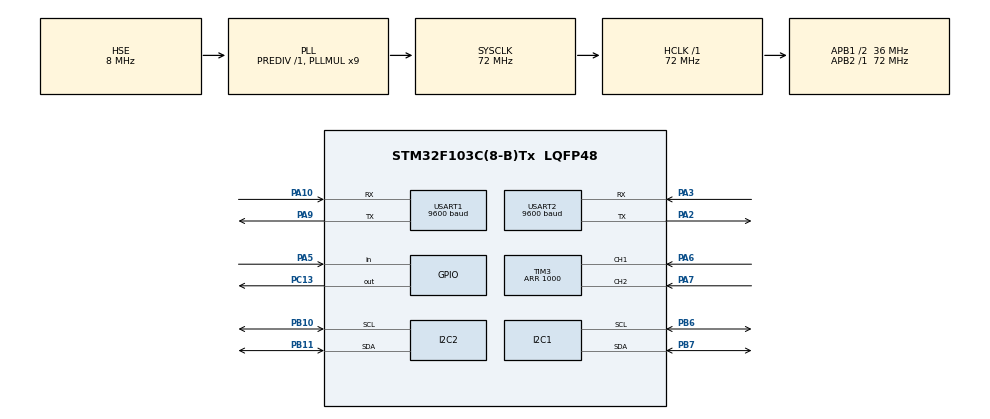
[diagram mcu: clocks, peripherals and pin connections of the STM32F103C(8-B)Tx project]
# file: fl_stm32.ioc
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FREERTOS.HEAP_NUMBER=4
FREERTOS.Tasks01=defaultTask,0,128,StartDefaultTask,Default,NULL,Dynamic,NULL,NULL;displeyTask,-2,512,StartdispleyTask,Default,NULL,Dynamic,NULL,NULL;encodetTask,-2,128,StartencodetTask,Default,NULL,Dynamic,NULL,NULL;gpsTask,-2,128,StartGPSTask,Default,NULL,Dynamic,NULL,NULL;rtcTask,-2,128,StartRTCTask,Default,NULL,Dynamic,NULL,NULL;UARTTask,-3,256,StartUARTTask,Default,NULL,Dynamic,NULL,NULL;sensorsTask,-3,128,StartSensorTask,Default,NULL,Dynamic,NULL,NULL
FREERTOS.configMINIMAL_STACK_SIZE=128
FREERTOS.configTOTAL_HEAP_SIZE=6528
I2C1.I2C_Mode=I2C_Fast
Mcu.Family=STM32F1
Mcu.Name=STM32F103C(8-B)Tx
Mcu.Package=LQFP48
NVIC.I2C1_ER_IRQn=true\:5\:0\:false\:false\:true\:true\:true\:true\:true
NVIC.I2C1_EV_IRQn=true\:5\:0\:false\:false\:true\:true\:true\:true\:true
NVIC.PriorityGroup=NVIC_PRIORITYGROUP_4
NVIC.TIM4_IRQn=true\:15\:0\:false\:false\:true\:false\:false\:true\:true
NVIC.TimeBase=TIM4_IRQn
NVIC.TimeBaseIP=TIM4
NVIC.USART1_IRQn=true\:5\:0\:false\:false\:true\:true\:true\:true\:true
PA10.Mode=Asynchronous
PA10.Signal=USART1_RX
PA13.Mode=Serial_Wire
PA13.Signal=SYS_JTMS-SWDIO
PA14.Mode=Serial_Wire
PA14.Signal=SYS_JTCK-SWCLK
PA2.Mode=Asynchronous
PA2.Signal=USART2_TX
PA3.Mode=Asynchronous
PA3.Signal=USART2_RX
PA5.Signal=GPIO_Input
PA6.GPIO_Mode=GPIO_MODE_INPUT
PA6.GPIO_PuPd=GPIO_PULLUP
PA6.Signal=S_TIM3_CH1
PA7.GPIO_Mode=GPIO_MODE_INPUT
PA7.GPIO_PuPd=GPIO_PULLUP
PA7.Signal=S_TIM3_CH2
PA9.Mode=Asynchronous
PA9.Signal=USART1_TX
PB10.Mode=I2C
PB10.Signal=I2C2_SCL
PB11.Mode=I2C
PB11.Signal=I2C2_SDA
PB6.GPIO_Speed=GPIO_SPEED_FREQ_HIGH
PB6.Mode=I2C
PB6.Signal=I2C1_SCL
PB7.Mode=I2C
PB7.Signal=I2C1_SDA
PC13-TAMPER-RTC.GPIO_Speed=GPIO_SPEED_FREQ_MEDIUM
PC13-TAMPER-RTC.Signal=GPIO_Output
PD0-OSC_IN.Mode=HSE-External-Oscillator
PD0-OSC_IN.Signal=RCC_OSC_IN
PD1-OSC_OUT.Mode=HSE-External-Oscillator
PD1-OSC_OUT.Signal=RCC_OSC_OUT
ProjectManager.HeapSize=0x200
ProjectManager.StackSize=0x400
ProjectManager.TargetToolchain=STM32CubeIDE
RCC.AHBFreq_Value=72000000
RCC.APB1CLKDivider=RCC_HCLK_DIV2
RCC.APB1Freq_Value=36000000
RCC.APB1TimFreq_Value=72000000
RCC.APB2Freq_Value=72000000
RCC.APB2TimFreq_Value=72000000
RCC.HCLKFreq_Value=72000000
RCC.PLLMUL=RCC_PLL_MUL9
RCC.PLLSourceVirtual=RCC_PLLSOURCE_HSE
RCC.SYSCLKFreq_VALUE=72000000
RCC.SYSCLKSource=RCC_SYSCLKSOURCE_PLLCLK
RCC.USBFreq_Value=72000000
SH.S_TIM3_CH1.0=TIM3_CH1,Encoder_Interface
SH.S_TIM3_CH2.0=TIM3_CH2,Encoder_Interface
TIM3.IC1Filter=6
TIM3.IC1Polarity=TIM_ICPOLARITY_FALLING
TIM3.IC2Filter=6
TIM3.IC2Polarity=TIM_ICPOLARITY_FALLING
TIM3.Period=1000
USART1.BaudRate=9600
USART1.VirtualMode=VM_ASYNC
USART2.BaudRate=9600
USART2.VirtualMode=VM_ASYNC
VP_FREERTOS_VS_CMSIS_V1.Mode=CMSIS_V1
VP_SYS_VS_tim4.Mode=TIM4
board=custom

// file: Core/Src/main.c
/* USER CODE BEGIN Header */
/**
  ******************************************************************************
  * @file           : main.c
  * @brief          : Main program body
  ******************************************************************************
  * @attention
  *
  * Copyright (c) 2024 STMicroelectronics.
  * All rights reserved.
  *
  * This software is licensed under terms that can be found in the LICENSE file
  * in the root directory of this software component.
  * If no LICENSE file comes with this software, it is provided AS-IS.
  *
  ******************************************************************************
  */
/* USER CODE END Header */
#include "main.h"
#include "cmsis_os.h"
#include "i2c.h"
#include "tim.h"
#include "usart.h"
#include "gpio.h"

void SystemClock_Config(void);
void MX_FREERTOS_Init(void);

int main(void)
{

  /* MCU Configuration--------------------------------------------------------*/

  /* Reset of all peripherals, Initializes the Flash interface and the Systick. */
  HAL_Init();

  /* Configure the system clock */
  SystemClock_Config();

  /* Initialize all configured peripherals */
  MX_GPIO_Init();
  MX_I2C1_Init();
  MX_I2C2_Init();
  MX_USART1_UART_Init();
  MX_USART2_UART_Init();
  MX_TIM3_Init();

  /* Call init function for freertos objects (in freertos.c) */
  MX_FREERTOS_Init();

  /* Start scheduler */
  osKernelStart();

  /* We should never get here as control is now taken by the scheduler */
  /* Infinite loop */
  while (1)
  {

  }
}

void SystemClock_Config(void)
{
  RCC_OscInitTypeDef RCC_OscInitStruct = {0};
  RCC_ClkInitTypeDef RCC_ClkInitStruct = {0};

  /** Initializes the RCC Oscillators according to the specified parameters
  * in the RCC_OscInitTypeDef structure.
  */
  RCC_OscInitStruct.OscillatorType = RCC_OSCILLATORTYPE_HSE;
  RCC_OscInitStruct.HSEState = RCC_HSE_ON;
  RCC_OscInitStruct.HSEPredivValue = RCC_HSE_PREDIV_DIV1;
  RCC_OscInitStruct.HSIState = RCC_HSI_ON;
  RCC_OscInitStruct.PLL.PLLState = RCC_PLL_ON;
  RCC_OscInitStruct.PLL.PLLSource = RCC_PLLSOURCE_HSE;
  RCC_OscInitStruct.PLL.PLLMUL = RCC_PLL_MUL9;
  if (HAL_RCC_OscConfig(&RCC_OscInitStruct) != HAL_OK)
  {
    Error_Handler();
  }

  /** Initializes the CPU, AHB and APB buses clocks
  */
  RCC_ClkInitStruct.ClockType = RCC_CLOCKTYPE_HCLK|RCC_CLOCKTYPE_SYSCLK
                              |RCC_CLOCKTYPE_PCLK1|RCC_CLOCKTYPE_PCLK2;
  RCC_ClkInitStruct.SYSCLKSource = RCC_SYSCLKSOURCE_PLLCLK;
  RCC_ClkInitStruct.AHBCLKDivider = RCC_SYSCLK_DIV1;
  RCC_ClkInitStruct.APB1CLKDivider = RCC_HCLK_DIV2;
  RCC_ClkInitStruct.APB2CLKDivider = RCC_HCLK_DIV1;

  if (HAL_RCC_ClockConfig(&RCC_ClkInitStruct, FLASH_LATENCY_2) != HAL_OK)
  {
    Error_Handler();
  }
}

void HAL_TIM_PeriodElapsedCallback(TIM_HandleTypeDef *htim)
{
  if (htim->Instance == TIM4) {
    HAL_IncTick();
  }
  /* USER CODE BEGIN Callback 1 */
  if (htim->Instance == TIM4)
  {
	  button_timer_tick();
  }

  /* USER CODE END Callback 1 */
}

void Error_Handler(void)
{
  __disable_irq();
  while (1)
  {
  }
}

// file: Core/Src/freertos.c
/* USER CODE BEGIN Header */
/**
  ******************************************************************************
  * File Name          : freertos.c
  * Description        : Code for freertos applications
  ******************************************************************************
  * @attention
  *
  * Copyright (c) 2024 STMicroelectronics.
  * All rights reserved.
  *
  * This software is licensed under terms that can be found in the LICENSE file
  * in the root directory of this software component.
  * If no LICENSE file comes with this software, it is provided AS-IS.
  *
  ******************************************************************************
  */
/* USER CODE END Header */

#include "FreeRTOS.h"
#include "task.h"
#include "main.h"
#include "cmsis_os.h"

/* USER CODE BEGIN Includes */

#include "gps_neo6.h"
#include "usart.h"
#include "stdio.h"
#include "ds1307_for_stm32_hal.h"
#include "tim.h"
#include "i2c.h"
//#include "_bme280.h"
//#include "BME280.h"

#include "sensors.h"
#include "display.h"

/* USER CODE END Includes */

osThreadId defaultTaskHandle;
osThreadId displeyTaskHandle;
osThreadId encodetTaskHandle;
osThreadId gpsTaskHandle;
osThreadId rtcTaskHandle;
osThreadId UARTTaskHandle;
osThreadId sensorsTaskHandle;

void StartDefaultTask(void const * argument);
void StartdispleyTask(void const * argument);
void StartencodetTask(void const * argument);
void StartGPSTask(void const * argument);
void StartRTCTask(void const * argument);
void StartUARTTask(void const * argument);
void StartSensorTask(void const * argument);

void MX_FREERTOS_Init(void); /* (MISRA C 2004 rule 8.1) */

/* GetIdleTaskMemory prototype (linked to static allocation support) */
void vApplicationGetIdleTaskMemory( StaticTask_t **ppxIdleTaskTCBBuffer, StackType_t **ppxIdleTaskStackBuffer, uint32_t *pulIdleTaskStackSize );

/* USER CODE BEGIN GET_IDLE_TASK_MEMORY */
static StaticTask_t xIdleTaskTCBBuffer;
static StackType_t xIdleStack[configMINIMAL_STACK_SIZE];

void vApplicationGetIdleTaskMemory( StaticTask_t **ppxIdleTaskTCBBuffer, StackType_t **ppxIdleTaskStackBuffer, uint32_t *pulIdleTaskStackSize )
{
  *ppxIdleTaskTCBBuffer = &xIdleTaskTCBBuffer;
  *ppxIdleTaskStackBuffer = &xIdleStack[0];
  *pulIdleTaskStackSize = configMINIMAL_STACK_SIZE;
  /* place for user code */
}
/* USER CODE END GET_IDLE_TASK_MEMORY */

void MX_FREERTOS_Init(void) {

  /* Create the thread(s) */
  /* definition and creation of defaultTask */
  osThreadDef(defaultTask, StartDefaultTask, osPriorityNormal, 0, 128);
  defaultTaskHandle = osThreadCreate(osThread(defaultTask), NULL);

  /* definition and creation of displeyTask */
  osThreadDef(displeyTask, StartdispleyTask, osPriorityLow, 0, 512);
  displeyTaskHandle = osThreadCreate(osThread(displeyTask), NULL);

  /* definition and creation of encodetTask */
  osThreadDef(encodetTask, StartencodetTask, osPriorityLow, 0, 128);
  encodetTaskHandle = osThreadCreate(osThread(encodetTask), NULL);

  /* definition and creation of gpsTask */
  osThreadDef(gpsTask, StartGPSTask, osPriorityLow, 0, 128);
  gpsTaskHandle = osThreadCreate(osThread(gpsTask), NULL);

  /* definition and creation of rtcTask */
  osThreadDef(rtcTask, StartRTCTask, osPriorityLow, 0, 128);
  rtcTaskHandle = osThreadCreate(osThread(rtcTask), NULL);

  /* definition and creation of UARTTask */
  osThreadDef(UARTTask, StartUARTTask, osPriorityIdle, 0, 256);
  UARTTaskHandle = osThreadCreate(osThread(UARTTask), NULL);

  /* definition and creation of sensorsTask */
  osThreadDef(sensorsTask, StartSensorTask, osPriorityIdle, 0, 128);
  sensorsTaskHandle = osThreadCreate(osThread(sensorsTask), NULL);

}

void StartDefaultTask(void const * argument)
{
  for(;;)
  {
    osDelay(1);
  }
}

void StartdispleyTask(void const * argument)
{
  /* USER CODE BEGIN StartdispleyTask */
	display_Init();
  /* Infinite loop */
	for(;;)
	{
		display_handle();
		osDelay(500);
	}
  /* USER CODE END StartdispleyTask */
}

void StartencodetTask(void const * argument)
{
  /* USER CODE BEGIN StartencodetTask */
	encoder_init();
  /* Infinite loop */
	for(;;)
	  {
		encoder_handling();
		keyboard_handling();
		osDelay(1);
	  }
  /* USER CODE END StartencodetTask */
}

void StartGPSTask(void const * argument)
{
  /* USER CODE BEGIN StartGPSTask */
	sprintf((char*)Message, "T %02d:%02d:%02d", 12, 12, 12);
	NEO6_Init(&GpsState, &huart1);
	osDelay(1000);
	sprintf((char*)Message, "T %02d:%02d:%02d", GpsState.Hour, GpsState.Minute, GpsState.Second);
  /* Infinite loop */
  for(;;)
  {
//	  HAL_GPIO_WritePin(GPIOC, GPIO_PIN_13, GPIO_PIN_RESET);
	  NEO6_Task(&GpsState);
//	  osDelay(1);
//	  osDelay(1000);
//
////	  if(NEO6_IsFix(&GpsState))
////	  {
////		 sprintf((char*)Message, "T %02d:%02d:%02d", GpsState.Hour, GpsState.Minute, GpsState.Second);
////	  }
////	  else
////	  {
////		  sprintf((char*)Message, "No Fix\n\r");
////
////	  }
//	  HAL_UART_Receive_IT(&huart1, bufttttt, 64);
//	  osDelay(1000);
//	  HAL_GPIO_WritePin(GPIOC, GPIO_PIN_13, GPIO_PIN_SET);
//	  osDelay(1000);
  }
  /* USER CODE END StartGPSTask */
}

void StartRTCTask(void const * argument)
{
  /* USER CODE BEGIN StartRTCTask */
	rtc_Init();
  /* Infinite loop */
  for(;;)
  {
	rtc_handle();
	osDelay(100);
  }
  /* USER CODE END StartRTCTask */
}

void StartUARTTask(void const * argument)
{
  /* USER CODE BEGIN StartUARTTask */
  /* Infinite loop */
  for(;;)
  {
	  uart_pc_handle();
	  osDelay(100);
  }
  /* USER CODE END StartUARTTask */
}

void StartSensorTask(void const * argument)
{
  /* USER CODE BEGIN StartSensorTask */
	sensors_Init();
  /* Infinite loop */
  for(;;)
  {
	  sensors_Handle();
	  osDelay(1000);
  }
  /* USER CODE END StartSensorTask */
}
